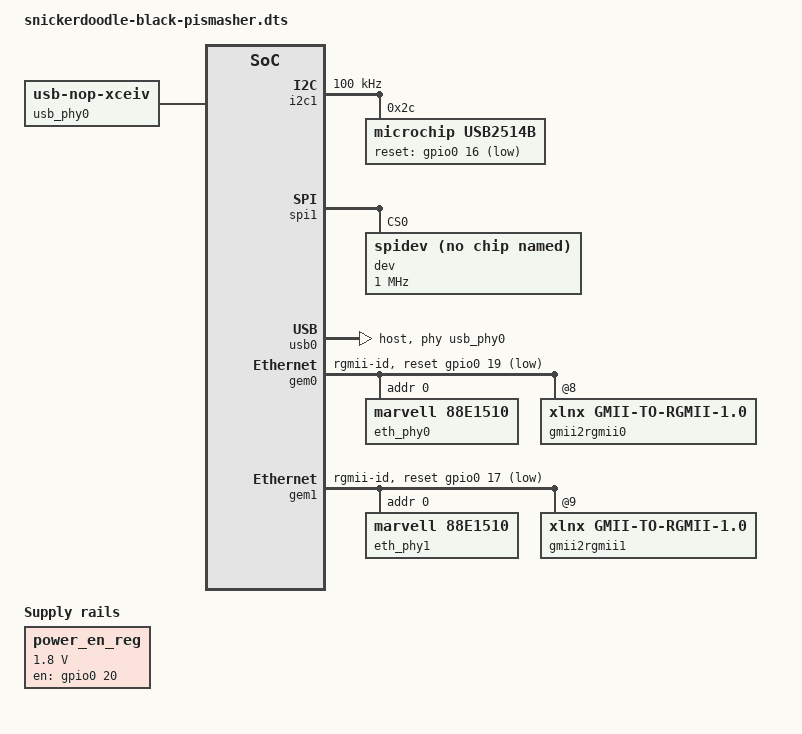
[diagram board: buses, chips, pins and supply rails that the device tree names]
/**
 * Copyright (c) 2018 krtkl inc.
 *
 * snickerdoodle Black piSmasher Device Tree Source
 *
 * This program is free software; you can redistribute it and/or modify it
 * under the terms of the GNU General Public License version 2 as published by
 * the Free Software Foundation.
 */

/dts-v1/;
/include/ "snickerdoodle-black.dtsi"
/include/ "uio.dtsi"

/ {
	aliases {
		ethernet0 = &gem0;
		ethernet1 = &gem1;
	};

	power_en_reg: fixed-regulator-powen {
		compatible = "regulator-fixed";
		regulator-name = "power-en-regulator";
		gpio = <&gpio0 20 0>;
		regulator-min-microvolt = <1800000>;
		regulator-max-microvolt = <1800000>;
		startup-delay-us = <70000>;
		regulator-always-on;
		enable-active-high;
	};

	usb_phy0: usb-phy0 {
		compatible = "usb-nop-xceiv";
		#phy-cells = <0>;
		view-port = <0x170>;
		drv-vbus;
	};
};

&i2c1 {
	status = "okay";
	clock-frequency = <100000>;

	usb2514b@2c {
		compatible = "microchip,usb2514b";
		reg = <0x2c>;
		reset-gpios = <&gpio0 16 1>;
	};
};

&spi1 {
	status = "okay";
	num-cs = <1>;
	is-decoded-cs = <0>;
	#address-cells = <1>;
	#size-cells = <0>;

	dev@0 {
		compatible = "linux,spidev";
		reg = <0>;
		spi-max-frequency = <1000000>;
	};
};

&usb0 {
	status = "okay";
	dr_mode = "host";
	usb-phy = <&usb_phy0>;
};

&gem0 {
	status = "okay";
	phy-mode = "rgmii-id";
	reset-gpios = <&gpio0 19 1>;

	eth_phy0: ethernet-phy@0 {
		compatible = "marvell,88E1510";
        reg = <0>;
		device_type = "ethernet-phy";
	};

	gmii2rgmii0: gmiitorgmii@8 {
		compatible = "xlnx,gmii-to-rgmii-1.0";
		reg = <8>;
		phy-handle = <&eth_phy0>;
	};
};

&gem1 {
	status = "okay";
	phy-mode = "rgmii-id";
	reset-gpios = <&gpio0 17 1>;

	eth_phy1: ethernet-phy@0 {
		compatible = "marvell,88E1510";
        reg = <0>;
		device_type = "ethernet-phy";
	};

	gmii2rgmii1: gmiitorgmii@9 {
		compatible = "xlnx,gmii-to-rgmii-1.0";
		reg = <9>;
		phy-handle = <&eth_phy1>;
	};
};
